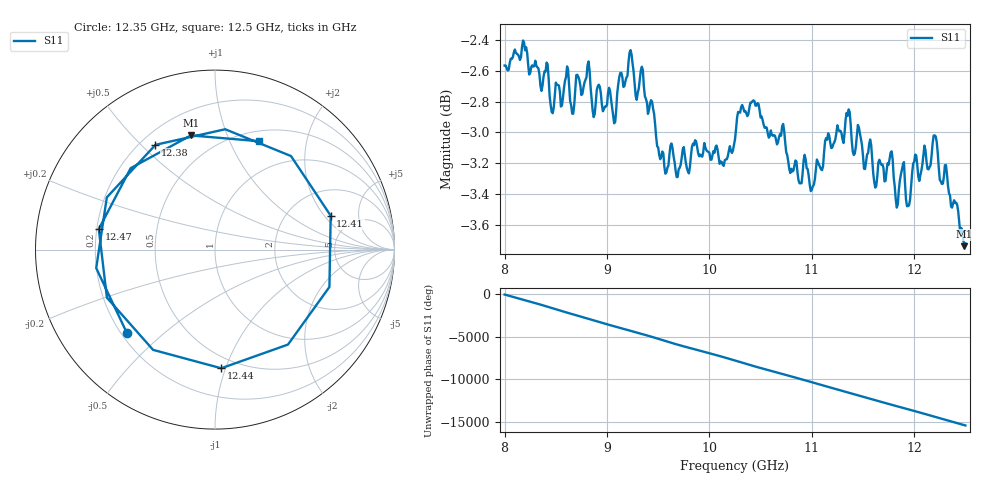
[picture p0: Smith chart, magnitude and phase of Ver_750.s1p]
#  HZ  S  RI  R  50.00
! Rohde & Schwarz Vector Network Analyzer
! Rohde-Schwarz,ZNA43-4Port,1332450044101932,2.92
! Created: UTC 6/2/2026, 7:42:43 AM
! freq[Hz]  re:S11  im:S11
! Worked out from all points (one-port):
!   451 points, 8 GHz to 12.5 GHz, reference 50 ohm
!   lowest |S11| = -3.7 dB at 12.49 GHz (marker M1), VSWR 4.72, Z = 17.1 + j37.6 ohm
!   |S11| at or under -10 dB: nowhere
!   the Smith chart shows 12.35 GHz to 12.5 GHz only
!   S11 on the Smith chart (normalised r, x): 12.35 GHz: 0.22, -0.38; 12.38 GHz: 0.26, +0.55; 12.41 GHz: 3.39, +2.33; 12.44 GHz: 0.41, -0.97; 12.47 GHz: 0.21, +0.08; 12.5 GHz: 0.62, +1.29
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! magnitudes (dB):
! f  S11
! 8 GHz  -2.6
! 8.19 GHz  -2.4
! 8.41 GHz  -2.5
! 8.46 GHz  -2.9
! 8.57 GHz  -2.8
! 8.81 GHz  -2.6
! 8.87 GHz  -2.9
! 9.07 GHz  -2.9
! 9.13 GHz  -2.6
! 9.34 GHz  -2.6
! 9.51 GHz  -3.1
! 9.69 GHz  -3.3
! 10.25 GHz  -3.0
! 10.45 GHz  -2.8
! 10.82 GHz  -3.2
! 11 GHz  -3.4
! 11.15 GHz  -3.0
! 11.38 GHz  -2.9
! 11.94 GHz  -3.5
! 12 GHz  -3.2
! 12.2 GHz  -3.0
! 12.35 GHz  -3.4
! 12.38 GHz  -3.5
! 12.41 GHz  -3.5
! 12.44 GHz  -3.6
! 12.47 GHz  -3.6
! 12.49 GHz  -3.7
! 12.5 GHz  -3.7
